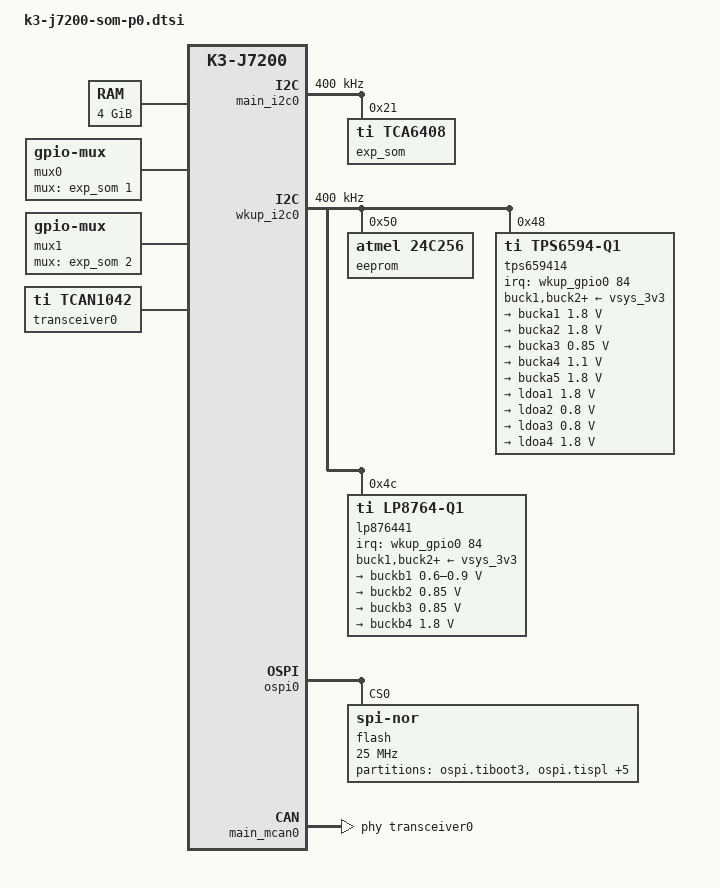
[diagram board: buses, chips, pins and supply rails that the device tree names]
// SPDX-License-Identifier: GPL-2.0-only OR MIT
/*
 * Copyright (C) 2020-2024 Texas Instruments Incorporated - https://www.ti.com/
 */

/dts-v1/;

#include <dt-bindings/gpio/gpio.h>

#include "k3-j7200.dtsi"

/ {
	memory@80000000 {
		device_type = "memory";
		bootph-all;
		/* 4G RAM */
		reg = <0x00000000 0x80000000 0x00000000 0x80000000>,
		      <0x00000008 0x80000000 0x00000000 0x80000000>;
	};

	reserved_memory: reserved-memory {
		#address-cells = <2>;
		#size-cells = <2>;
		ranges;

		secure_ddr: optee@9e800000 {
			reg = <0x00 0x9e800000 0x00 0x01800000>;
			alignment = <0x1000>;
			no-map;
		};

		mcu_r5fss0_core0_dma_memory_region: r5f-dma-memory@a0000000 {
			compatible = "shared-dma-pool";
			reg = <0x00 0xa0000000 0x00 0x100000>;
			no-map;
		};

		mcu_r5fss0_core0_memory_region: r5f-memory@a0100000 {
			compatible = "shared-dma-pool";
			reg = <0x00 0xa0100000 0x00 0xf00000>;
			no-map;
		};

		mcu_r5fss0_core1_dma_memory_region: r5f-dma-memory@a1000000 {
			compatible = "shared-dma-pool";
			reg = <0x00 0xa1000000 0x00 0x100000>;
			no-map;
		};

		mcu_r5fss0_core1_memory_region: r5f-memory@a1100000 {
			compatible = "shared-dma-pool";
			reg = <0x00 0xa1100000 0x00 0xf00000>;
			no-map;
		};

		main_r5fss0_core0_dma_memory_region: r5f-dma-memory@a2000000 {
			compatible = "shared-dma-pool";
			reg = <0x00 0xa2000000 0x00 0x100000>;
			no-map;
		};

		main_r5fss0_core0_memory_region: r5f-memory@a2100000 {
			compatible = "shared-dma-pool";
			reg = <0x00 0xa2100000 0x00 0xf00000>;
			no-map;
		};

		main_r5fss0_core1_dma_memory_region: r5f-dma-memory@a3000000 {
			compatible = "shared-dma-pool";
			reg = <0x00 0xa3000000 0x00 0x100000>;
			no-map;
		};

		main_r5fss0_core1_memory_region: r5f-memory@a3100000 {
			compatible = "shared-dma-pool";
			reg = <0x00 0xa3100000 0x00 0xf00000>;
			no-map;
		};

		rtos_ipc_memory_region: ipc-memories@a4000000 {
			reg = <0x00 0xa4000000 0x00 0x00800000>;
			alignment = <0x1000>;
			no-map;
		};
	};

	mux0: mux-controller-0 {
		compatible = "gpio-mux";
		#mux-state-cells = <1>;
		mux-gpios = <&exp_som 1 GPIO_ACTIVE_HIGH>;
	};

	mux1: mux-controller-1 {
		compatible = "gpio-mux";
		#mux-state-cells = <1>;
		mux-gpios = <&exp_som 2 GPIO_ACTIVE_HIGH>;
	};

	transceiver0: can-phy0 {
		/* standby pin has been grounded by default */
		compatible = "ti,tcan1042";
		#phy-cells = <0>;
		max-bitrate = <5000000>;
	};
};

&wkup_pmx0 {
	mcu_fss0_hpb0_pins_default: mcu-fss0-hpb0-default-pins {
		pinctrl-single,pins = <
			J721E_WKUP_IOPAD(0x0, PIN_OUTPUT, 1) /* (B6) MCU_OSPI0_CLK.MCU_HYPERBUS0_CK */
			J721E_WKUP_IOPAD(0x4, PIN_OUTPUT, 1) /* (C8) MCU_OSPI0_LBCLKO.MCU_HYPERBUS0_CKn */
			J721E_WKUP_IOPAD(0x2c, PIN_OUTPUT, 1) /* (D6) MCU_OSPI0_CSn0.MCU_HYPERBUS0_CSn0 */
			J721E_WKUP_IOPAD(0x30, PIN_OUTPUT, 1) /* (D7) MCU_OSPI0_CSn1.MCU_HYPERBUS0_RESETn */
			J721E_WKUP_IOPAD(0x8, PIN_INPUT, 1) /* (B7) MCU_OSPI0_DQS.MCU_HYPERBUS0_RWDS */
			J721E_WKUP_IOPAD(0xc, PIN_INPUT, 1) /* (D8) MCU_OSPI0_D0.MCU_HYPERBUS0_DQ0 */
			J721E_WKUP_IOPAD(0x10, PIN_INPUT, 1) /* (C7) MCU_OSPI0_D1.MCU_HYPERBUS0_DQ1 */
			J721E_WKUP_IOPAD(0x14, PIN_INPUT, 1) /* (C5) MCU_OSPI0_D2.MCU_HYPERBUS0_DQ2 */
			J721E_WKUP_IOPAD(0x18, PIN_INPUT, 1) /* (A5) MCU_OSPI0_D3.MCU_HYPERBUS0_DQ3 */
			J721E_WKUP_IOPAD(0x1c, PIN_INPUT, 1) /* (A6) MCU_OSPI0_D4.MCU_HYPERBUS0_DQ4 */
			J721E_WKUP_IOPAD(0x20, PIN_INPUT, 1) /* (B8) MCU_OSPI0_D5.MCU_HYPERBUS0_DQ5 */
			J721E_WKUP_IOPAD(0x24, PIN_INPUT, 1) /* (A8) MCU_OSPI0_D6.MCU_HYPERBUS0_DQ6 */
			J721E_WKUP_IOPAD(0x28, PIN_INPUT, 1) /* (A7) MCU_OSPI0_D7.MCU_HYPERBUS0_DQ7 */
		>;
	};

	mcu_fss0_ospi0_pins_default: mcu-fss0-ospi0-default-pins {
		pinctrl-single,pins = <
			J721E_WKUP_IOPAD(0x0000, PIN_OUTPUT, 0) /* MCU_OSPI0_CLK */
			J721E_WKUP_IOPAD(0x002c, PIN_OUTPUT, 0) /* MCU_OSPI0_CSn0 */
			J721E_WKUP_IOPAD(0x000c, PIN_INPUT, 0)  /* MCU_OSPI0_D0 */
			J721E_WKUP_IOPAD(0x0010, PIN_INPUT, 0)  /* MCU_OSPI0_D1 */
			J721E_WKUP_IOPAD(0x0014, PIN_INPUT, 0)  /* MCU_OSPI0_D2 */
			J721E_WKUP_IOPAD(0x0018, PIN_INPUT, 0)  /* MCU_OSPI0_D3 */
			J721E_WKUP_IOPAD(0x001c, PIN_INPUT, 0)  /* MCU_OSPI0_D4 */
			J721E_WKUP_IOPAD(0x0020, PIN_INPUT, 0)  /* MCU_OSPI0_D5 */
			J721E_WKUP_IOPAD(0x0024, PIN_INPUT, 0)  /* MCU_OSPI0_D6 */
			J721E_WKUP_IOPAD(0x0028, PIN_INPUT, 0)  /* MCU_OSPI0_D7 */
			J721E_WKUP_IOPAD(0x0008, PIN_INPUT, 0)  /* MCU_OSPI0_DQS */
		>;
	};
};

&wkup_pmx2 {
	wkup_i2c0_pins_default: wkup-i2c0-default-pins {
			pinctrl-single,pins = <
			J721E_WKUP_IOPAD(0x98, PIN_INPUT_PULLUP, 0) /* (F20) WKUP_I2C0_SCL */
			J721E_WKUP_IOPAD(0x9c, PIN_INPUT_PULLUP, 0) /* (H21) WKUP_I2C0_SDA */
		>;
	};
};

&wkup_pmx3 {
	pmic_irq_pins_default: pmic-irq-default-pins {
		pinctrl-single,pins = <
			J721E_WKUP_IOPAD(0x01c, PIN_INPUT, 7) /* (E18) WKUP_GPIO0_84 */
		>;
	};
};

&main_pmx0 {
	main_i2c0_pins_default: main-i2c0-default-pins {
		pinctrl-single,pins = <
			J721E_IOPAD(0xd4, PIN_INPUT_PULLUP, 0) /* (V3) I2C0_SCL */
			J721E_IOPAD(0xd8, PIN_INPUT_PULLUP, 0) /* (W2) I2C0_SDA */
		>;
	};

	main_mcan0_pins_default: main-mcan0-default-pins {
		pinctrl-single,pins = <
			J721E_IOPAD(0x24, PIN_INPUT, 0) /* (V20) MCAN0_RX */
			J721E_IOPAD(0x20, PIN_OUTPUT, 0) /* (V18) MCAN0_TX */
		>;
	};
};

&hbmc {
	/* OSPI and HBMC are muxed inside FSS, Bootloader will enable
	 * appropriate node based on board detection
	 */
	status = "disabled";
	pinctrl-names = "default";
	pinctrl-0 = <&mcu_fss0_hpb0_pins_default>;
	ranges = <0x00 0x00 0x05 0x00000000 0x4000000>, /* 64MB Flash on CS0 */
		 <0x01 0x00 0x05 0x04000000 0x800000>; /* 8MB RAM on CS1 */

	flash@0,0 {
		compatible = "cypress,hyperflash", "cfi-flash";
		reg = <0x00 0x00 0x4000000>;

		partitions {
			compatible = "fixed-partitions";
			#address-cells = <1>;
			#size-cells = <1>;

			partition@0 {
				label = "hbmc.tiboot3";
				reg = <0x0 0x100000>;
			};

			partition@100000 {
				label = "hbmc.tispl";
				reg = <0x100000 0x200000>;
			};

			partition@300000 {
				label = "hbmc.u-boot";
				reg = <0x300000 0x400000>;
			};

			partition@700000 {
				label = "hbmc.env";
				reg = <0x700000 0x40000>;
			};

			partition@800000 {
				label = "hbmc.rootfs";
				reg = <0x800000 0x3800000>;
			};
		};
	};
};

&mailbox0_cluster0 {
	status = "okay";
	interrupts = <436>;

	mbox_mcu_r5fss0_core0: mbox-mcu-r5fss0-core0 {
		ti,mbox-rx = <0 0 0>;
		ti,mbox-tx = <1 0 0>;
	};

	mbox_mcu_r5fss0_core1: mbox-mcu-r5fss0-core1 {
		ti,mbox-rx = <2 0 0>;
		ti,mbox-tx = <3 0 0>;
	};
};

&mailbox0_cluster1 {
	status = "okay";
	interrupts = <432>;

	mbox_main_r5fss0_core0: mbox-main-r5fss0-core0 {
		ti,mbox-rx = <0 0 0>;
		ti,mbox-tx = <1 0 0>;
	};

	mbox_main_r5fss0_core1: mbox-main-r5fss0-core1 {
		ti,mbox-rx = <2 0 0>;
		ti,mbox-tx = <3 0 0>;
	};
};

&mcu_r5fss0_core0 {
	mboxes = <&mailbox0_cluster0 &mbox_mcu_r5fss0_core0>;
	memory-region = <&mcu_r5fss0_core0_dma_memory_region>,
			<&mcu_r5fss0_core0_memory_region>;
};

&mcu_r5fss0_core1 {
	mboxes = <&mailbox0_cluster0 &mbox_mcu_r5fss0_core1>;
	memory-region = <&mcu_r5fss0_core1_dma_memory_region>,
			<&mcu_r5fss0_core1_memory_region>;
};

&main_r5fss0 {
	ti,cluster-mode = <0>;
};

/* Timers are used by Remoteproc firmware */
&main_timer0 {
	status = "reserved";
};

&main_timer1 {
	status = "reserved";
};

&main_timer2 {
	status = "reserved";
};

&main_r5fss0_core0 {
	mboxes = <&mailbox0_cluster1 &mbox_main_r5fss0_core0>;
	memory-region = <&main_r5fss0_core0_dma_memory_region>,
			<&main_r5fss0_core0_memory_region>;
};

&main_r5fss0_core1 {
	mboxes = <&mailbox0_cluster1 &mbox_main_r5fss0_core1>;
	memory-region = <&main_r5fss0_core1_dma_memory_region>,
			<&main_r5fss0_core1_memory_region>;
};

&main_i2c0 {
	pinctrl-names = "default";
	pinctrl-0 = <&main_i2c0_pins_default>;
	clock-frequency = <400000>;

	exp_som: gpio@21 {
		compatible = "ti,tca6408";
		reg = <0x21>;
		gpio-controller;
		#gpio-cells = <2>;
		gpio-line-names = "USB2.0_MUX_SEL", "CANUART_MUX1_SEL0",
				  "CANUART_MUX2_SEL0", "CANUART_MUX_SEL1",
				  "UART/LIN_MUX_SEL", "TRC_D17/AUDIO_REFCLK_SEL",
				  "GPIO_LIN_EN", "CAN_STB";
	};
};

&wkup_i2c0 {
	status = "okay";
	pinctrl-names = "default";
	pinctrl-0 = <&wkup_i2c0_pins_default>;
	clock-frequency = <400000>;

	eeprom@50 {
		compatible = "atmel,24c256";
		reg = <0x50>;
	};

	tps659414: pmic@48 {
		compatible = "ti,tps6594-q1";
		reg = <0x48>;
		system-power-controller;
		pinctrl-names = "default";
		pinctrl-0 = <&pmic_irq_pins_default>;
		interrupt-parent = <&wkup_gpio0>;
		interrupts = <84 IRQ_TYPE_EDGE_FALLING>;
		gpio-controller;
		#gpio-cells = <2>;
		ti,primary-pmic;
		buck1-supply = <&vsys_3v3>;
		buck2-supply = <&vsys_3v3>;
		buck3-supply = <&vsys_3v3>;
		buck4-supply = <&vsys_3v3>;
		buck5-supply = <&vsys_3v3>;
		ldo1-supply = <&vsys_3v3>;
		ldo2-supply = <&vsys_3v3>;
		ldo3-supply = <&vsys_3v3>;
		ldo4-supply = <&vsys_3v3>;

		regulators {
			bucka1: buck1 {
				regulator-name = "vda_mcu_1v8";
				regulator-min-microvolt = <1800000>;
				regulator-max-microvolt = <1800000>;
				regulator-boot-on;
				regulator-always-on;
			};

			bucka2: buck2 {
				regulator-name = "vdd_mcuio_1v8";
				regulator-min-microvolt = <1800000>;
				regulator-max-microvolt = <1800000>;
				regulator-boot-on;
				regulator-always-on;
			};

			bucka3: buck3 {
				regulator-name = "vdd_mcu_0v85";
				regulator-min-microvolt = <850000>;
				regulator-max-microvolt = <850000>;
				regulator-boot-on;
				regulator-always-on;
			};

			bucka4: buck4 {
				regulator-name = "vdd_ddr_1v1";
				regulator-min-microvolt = <1100000>;
				regulator-max-microvolt = <1100000>;
				regulator-boot-on;
				regulator-always-on;
			};

			bucka5: buck5 {
				regulator-name = "vdd_phyio_1v8";
				regulator-min-microvolt = <1800000>;
				regulator-max-microvolt = <1800000>;
				regulator-boot-on;
				regulator-always-on;
			};

			ldoa1: ldo1 {
				regulator-name = "vdd1_lpddr4_1v8";
				regulator-min-microvolt = <1800000>;
				regulator-max-microvolt = <1800000>;
				regulator-boot-on;
				regulator-always-on;
			};

			ldoa2: ldo2 {
				regulator-name = "vda_dll_0v8";
				regulator-min-microvolt = <800000>;
				regulator-max-microvolt = <800000>;
				regulator-boot-on;
				regulator-always-on;
			};

			ldoa3: ldo3 {
				regulator-name = "vdd_wk_0v8";
				regulator-min-microvolt = <800000>;
				regulator-max-microvolt = <800000>;
				regulator-boot-on;
				regulator-always-on;
			};

			ldoa4: ldo4 {
				regulator-name = "vda_pll_1v8";
				regulator-min-microvolt = <1800000>;
				regulator-max-microvolt = <1800000>;
				regulator-boot-on;
				regulator-always-on;
			};
		};
	};

	lp876441: pmic@4c {
		compatible = "ti,lp8764-q1";
		reg = <0x4c>;
		system-power-controller;
		interrupt-parent = <&wkup_gpio0>;
		interrupts = <84 IRQ_TYPE_EDGE_FALLING>;
		gpio-controller;
		#gpio-cells = <2>;
		buck1-supply = <&vsys_3v3>;
		buck2-supply = <&vsys_3v3>;
		buck3-supply = <&vsys_3v3>;
		buck4-supply = <&vsys_3v3>;

		regulators: regulators {
			buckb1: buck1 {
				regulator-name = "vdd_cpu_avs";
				regulator-min-microvolt = <600000>;
				regulator-max-microvolt = <900000>;
				regulator-always-on;
				regulator-boot-on;
				bootph-pre-ram;
			};

			buckb2: buck2 {
				regulator-name = "vdd_ram_0v85";
				regulator-min-microvolt = <850000>;
				regulator-max-microvolt = <850000>;
				regulator-boot-on;
				regulator-always-on;
			};

			buckb3: buck3 {
				regulator-name = "vdd_core_0v85";
				regulator-min-microvolt = <850000>;
				regulator-max-microvolt = <850000>;
				regulator-boot-on;
				regulator-always-on;
			};

			buckb4: buck4 {
				regulator-name = "vdd_io_1v8";
				regulator-min-microvolt = <1800000>;
				regulator-max-microvolt = <1800000>;
				regulator-boot-on;
				regulator-always-on;
			};
		};
	};
};

&ospi0 {
	status = "okay";
	pinctrl-names = "default";
	pinctrl-0 = <&mcu_fss0_ospi0_pins_default>;

	flash@0 {
		compatible = "jedec,spi-nor";
		reg = <0x0>;
		spi-tx-bus-width = <8>;
		spi-rx-bus-width = <8>;
		spi-max-frequency = <25000000>;
		cdns,tshsl-ns = <60>;
		cdns,tsd2d-ns = <60>;
		cdns,tchsh-ns = <60>;
		cdns,tslch-ns = <60>;
		cdns,read-delay = <4>;

		partitions {
			compatible = "fixed-partitions";
			#address-cells = <1>;
			#size-cells = <1>;

			partition@0 {
				label = "ospi.tiboot3";
				reg = <0x0 0x100000>;
			};

			partition@100000 {
				label = "ospi.tispl";
				reg = <0x100000 0x200000>;
			};

			partition@300000 {
				label = "ospi.u-boot";
				reg = <0x300000 0x400000>;
			};

			partition@700000 {
				label = "ospi.env";
				reg = <0x700000 0x40000>;
			};

			partition@740000 {
				label = "ospi.env.backup";
				reg = <0x740000 0x40000>;
			};

			partition@800000 {
				label = "ospi.rootfs";
				reg = <0x800000 0x37c0000>;
			};

			partition@3fc0000 {
				label = "ospi.phypattern";
				reg = <0x3fc0000 0x40000>;
			};
		};
	};
};

&main_mcan0 {
	status = "okay";
	pinctrl-0 = <&main_mcan0_pins_default>;
	pinctrl-names = "default";
	phys = <&transceiver0>;
};
